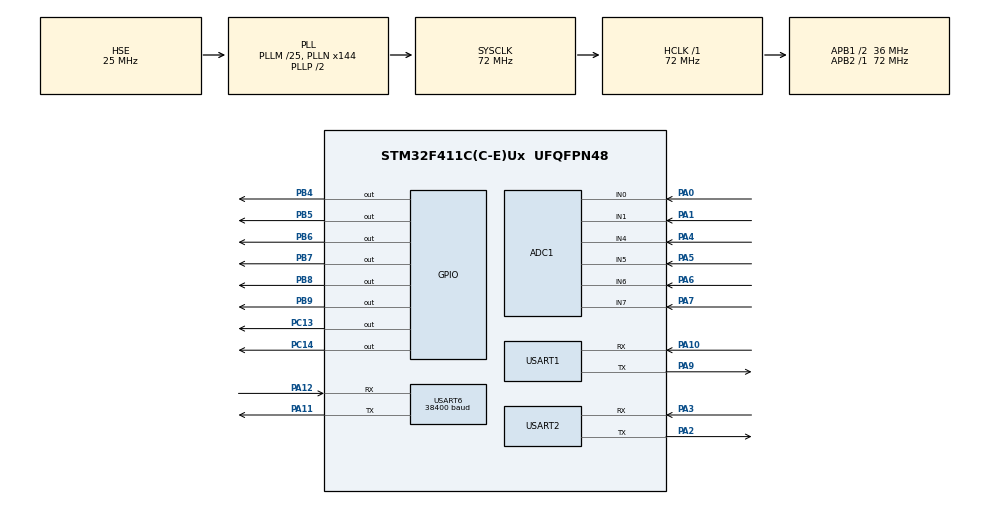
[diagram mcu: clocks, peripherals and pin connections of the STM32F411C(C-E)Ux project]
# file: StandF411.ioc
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ADC1.Channel-1\#ChannelRegularConversion=ADC_CHANNEL_0
ADC1.ClockPrescaler=ADC_CLOCK_SYNC_PCLK_DIV2
ADC1.ContinuousConvMode=ENABLE
ADC1.EOCSelection=ADC_EOC_SEQ_CONV
ADC1.InjNumberOfConversion=0
ADC1.NbrOfConversion=1
ADC1.NbrOfConversionFlag=1
ADC1.Rank-1\#ChannelRegularConversion=1
ADC1.SamplingTime-1\#ChannelRegularConversion=ADC_SAMPLETIME_3CYCLES
ADC1.ScanConvMode=DISABLE
ADC1.master=1
Mcu.Family=STM32F4
Mcu.Name=STM32F411C(C-E)Ux
Mcu.Package=UFQFPN48
NVIC.PriorityGroup=NVIC_PRIORITYGROUP_4
NVIC.USART1_IRQn=true\:0\:0\:false\:false\:true\:true\:true\:true
NVIC.USART2_IRQn=true\:0\:0\:false\:false\:true\:true\:true\:true
PA0-WKUP.Signal=ADCx_IN0
PA1.Signal=ADCx_IN1
PA10.Mode=Asynchronous
PA10.Signal=USART1_RX
PA11.Mode=Asynchronous
PA11.Signal=USART6_TX
PA12.Mode=Asynchronous
PA12.Signal=USART6_RX
PA13.Mode=Serial_Wire
PA13.Signal=SYS_JTMS-SWDIO
PA14.Mode=Serial_Wire
PA14.Signal=SYS_JTCK-SWCLK
PA2.Mode=Asynchronous
PA2.Signal=USART2_TX
PA3.Mode=Asynchronous
PA3.Signal=USART2_RX
PA4.Signal=ADCx_IN4
PA5.Signal=ADCx_IN5
PA6.Signal=ADCx_IN6
PA7.Signal=ADCx_IN7
PA9.Mode=Asynchronous
PA9.Signal=USART1_TX
PB4.Signal=GPIO_Output
PB5.Signal=GPIO_Output
PB6.Signal=GPIO_Output
PB7.Signal=GPIO_Output
PB8.Signal=GPIO_Output
PB9.Signal=GPIO_Output
PC13-ANTI_TAMP.Signal=GPIO_Output
PC14-OSC32_IN.Signal=GPIO_Output
PH0\ -\ OSC_IN.Mode=HSE-External-Oscillator
PH0\ -\ OSC_IN.Signal=RCC_OSC_IN
PH1\ -\ OSC_OUT.Mode=HSE-External-Oscillator
PH1\ -\ OSC_OUT.Signal=RCC_OSC_OUT
ProjectManager.HeapSize=0x200
ProjectManager.StackSize=0x400
ProjectManager.TargetToolchain=STM32CubeIDE
RCC.48MHZClocksFreq_Value=36000000
RCC.AHBFreq_Value=72000000
RCC.APB1CLKDivider=RCC_HCLK_DIV2
RCC.APB1Freq_Value=36000000
RCC.APB1TimFreq_Value=72000000
RCC.APB2Freq_Value=72000000
RCC.APB2TimFreq_Value=72000000
RCC.CortexFreq_Value=72000000
RCC.HCLKFreq_Value=72000000
RCC.HSE_VALUE=25000000
RCC.HSI_VALUE=16000000
RCC.LSE_VALUE=32768
RCC.PLLM=25
RCC.PLLN=144
RCC.PLLSourceVirtual=RCC_PLLSOURCE_HSE
RCC.SYSCLKFreq_VALUE=72000000
RCC.SYSCLKSource=RCC_SYSCLKSOURCE_PLLCLK
RCC.VCOOutputFreq_Value=144000000
SH.ADCx_IN0.0=ADC1_IN0,IN0
SH.ADCx_IN1.0=ADC1_IN1,IN1
SH.ADCx_IN4.0=ADC1_IN4,IN4
SH.ADCx_IN5.0=ADC1_IN5,IN5
SH.ADCx_IN6.0=ADC1_IN6,IN6
SH.ADCx_IN7.0=ADC1_IN7,IN7
USART1.VirtualMode=VM_ASYNC
USART2.VirtualMode=VM_ASYNC
USART6.BaudRate=38400
USART6.VirtualMode=VM_ASYNC
USART6.WordLength=WORDLENGTH_8B
board=custom

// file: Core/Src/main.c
/* USER CODE BEGIN Header */
/**
  ******************************************************************************
  * @file           : main.c
  * @brief          : Main program body
  ******************************************************************************
  * @attention
  *
  * Copyright (c) 2024 STMicroelectronics.
  * All rights reserved.
  *
  * This software is licensed under terms that can be found in the LICENSE file
  * in the root directory of this software component.
  * If no LICENSE file comes with this software, it is provided AS-IS.
  *
  ******************************************************************************
  */
/* USER CODE END Header */
#include "main.h"

/* USER CODE BEGIN Includes */
#include <stdio.h>
#include <stdlib.h>
#include <stdint.h>
#include <string.h>
#include "parser.h"
#include "hardware.h"
/* USER CODE END Includes */

/* USER CODE BEGIN PTD */

uint8_t rx_byte, status;

/* USER CODE END PTD */

ADC_HandleTypeDef hadc1;

UART_HandleTypeDef huart1;
UART_HandleTypeDef huart2;
UART_HandleTypeDef huart6;

void SystemClock_Config(void);
static void MX_GPIO_Init(void);
static void MX_USART1_UART_Init(void);
static void MX_USART2_UART_Init(void);
static void MX_USART6_UART_Init(void);
static void MX_ADC1_Init(void);

int main(void)
{

  /* MCU Configuration--------------------------------------------------------*/

  /* Reset of all peripherals, Initializes the Flash interface and the Systick. */
  HAL_Init();

  /* Configure the system clock */
  SystemClock_Config();

  /* Initialize all configured peripherals */
  MX_GPIO_Init();
  MX_USART1_UART_Init();
  MX_USART2_UART_Init();
  MX_USART6_UART_Init();
  MX_ADC1_Init();

  /* Infinite loop */
  /* USER CODE BEGIN WHILE */
  while (1)
  {
	  HAL_UART_Receive_IT(&UART_USB, &rx_byte, 1);
	  if (status == STATUS_OK){
		  enum parser_result result;
		  	          result = process_rx_byte(&parser, rx_byte);
		  	          if (result == PARSER_DONE) {
		                  choose_command(parser.buffer, &parser.buffer_length);
		                  transmission(&data, &parser);
		                  serialize_reply(&data);
		                  HAL_UART_Transmit_IT(&UART_USB, data.buf, data.buf_size);
		  	          }
		  	        else if (result == PARSER_ERROR) {
		  	        	        	   parser.state = STATE_SYNC;
		  	        	          }
		  status = STATUS_EXEC_ERROR;
	  }

    /* USER CODE END WHILE */

  }
}

void SystemClock_Config(void)
{
  RCC_OscInitTypeDef RCC_OscInitStruct = {0};
  RCC_ClkInitTypeDef RCC_ClkInitStruct = {0};

  /** Configure the main internal regulator output voltage
  */
  __HAL_RCC_PWR_CLK_ENABLE();
  __HAL_PWR_VOLTAGESCALING_CONFIG(PWR_REGULATOR_VOLTAGE_SCALE1);

  /** Initializes the RCC Oscillators according to the specified parameters
  * in the RCC_OscInitTypeDef structure.
  */
  RCC_OscInitStruct.OscillatorType = RCC_OSCILLATORTYPE_HSE;
  RCC_OscInitStruct.HSEState = RCC_HSE_ON;
  RCC_OscInitStruct.PLL.PLLState = RCC_PLL_ON;
  RCC_OscInitStruct.PLL.PLLSource = RCC_PLLSOURCE_HSE;
  RCC_OscInitStruct.PLL.PLLM = 25;
  RCC_OscInitStruct.PLL.PLLN = 144;
  RCC_OscInitStruct.PLL.PLLP = RCC_PLLP_DIV2;
  RCC_OscInitStruct.PLL.PLLQ = 4;
  if (HAL_RCC_OscConfig(&RCC_OscInitStruct) != HAL_OK)
  {
    Error_Handler();
  }

  /** Initializes the CPU, AHB and APB buses clocks
  */
  RCC_ClkInitStruct.ClockType = RCC_CLOCKTYPE_HCLK|RCC_CLOCKTYPE_SYSCLK
                              |RCC_CLOCKTYPE_PCLK1|RCC_CLOCKTYPE_PCLK2;
  RCC_ClkInitStruct.SYSCLKSource = RCC_SYSCLKSOURCE_PLLCLK;
  RCC_ClkInitStruct.AHBCLKDivider = RCC_SYSCLK_DIV1;
  RCC_ClkInitStruct.APB1CLKDivider = RCC_HCLK_DIV2;
  RCC_ClkInitStruct.APB2CLKDivider = RCC_HCLK_DIV1;

  if (HAL_RCC_ClockConfig(&RCC_ClkInitStruct, FLASH_LATENCY_2) != HAL_OK)
  {
    Error_Handler();
  }
}

static void MX_ADC1_Init(void)
{

  ADC_ChannelConfTypeDef sConfig = {0};

  /** Configure the global features of the ADC (Clock, Resolution, Data Alignment and number of conversion)
  */
  hadc1.Instance = ADC1;
  hadc1.Init.ClockPrescaler = ADC_CLOCK_SYNC_PCLK_DIV2;
  hadc1.Init.Resolution = ADC_RESOLUTION_12B;
  hadc1.Init.ScanConvMode = DISABLE;
  hadc1.Init.ContinuousConvMode = ENABLE;
  hadc1.Init.DiscontinuousConvMode = DISABLE;
  hadc1.Init.ExternalTrigConvEdge = ADC_EXTERNALTRIGCONVEDGE_NONE;
  hadc1.Init.ExternalTrigConv = ADC_SOFTWARE_START;
  hadc1.Init.DataAlign = ADC_DATAALIGN_RIGHT;
  hadc1.Init.NbrOfConversion = 1;
  hadc1.Init.DMAContinuousRequests = DISABLE;
  hadc1.Init.EOCSelection = ADC_EOC_SEQ_CONV;
  if (HAL_ADC_Init(&hadc1) != HAL_OK)
  {
    Error_Handler();
  }

  /** Configure for the selected ADC regular channel its corresponding rank in the sequencer and its sample time.
  */
  sConfig.Channel = ADC_CHANNEL_0;
  sConfig.Rank = 1;
  sConfig.SamplingTime = ADC_SAMPLETIME_3CYCLES;
  if (HAL_ADC_ConfigChannel(&hadc1, &sConfig) != HAL_OK)
  {
    Error_Handler();
  }

}

static void MX_USART1_UART_Init(void)
{

  huart1.Instance = USART1;
  huart1.Init.BaudRate = 115200;
  huart1.Init.WordLength = UART_WORDLENGTH_8B;
  huart1.Init.StopBits = UART_STOPBITS_1;
  huart1.Init.Parity = UART_PARITY_NONE;
  huart1.Init.Mode = UART_MODE_TX_RX;
  huart1.Init.HwFlowCtl = UART_HWCONTROL_NONE;
  huart1.Init.OverSampling = UART_OVERSAMPLING_16;
  if (HAL_UART_Init(&huart1) != HAL_OK)
  {
    Error_Handler();
  }

}

static void MX_USART2_UART_Init(void)
{

  huart2.Instance = USART2;
  huart2.Init.BaudRate = 115200;
  huart2.Init.WordLength = UART_WORDLENGTH_8B;
  huart2.Init.StopBits = UART_STOPBITS_1;
  huart2.Init.Parity = UART_PARITY_NONE;
  huart2.Init.Mode = UART_MODE_TX_RX;
  huart2.Init.HwFlowCtl = UART_HWCONTROL_NONE;
  huart2.Init.OverSampling = UART_OVERSAMPLING_16;
  if (HAL_UART_Init(&huart2) != HAL_OK)
  {
    Error_Handler();
  }

}

static void MX_USART6_UART_Init(void)
{

  huart6.Instance = USART6;
  huart6.Init.BaudRate = 38400;
  huart6.Init.WordLength = UART_WORDLENGTH_8B;
  huart6.Init.StopBits = UART_STOPBITS_1;
  huart6.Init.Parity = UART_PARITY_NONE;
  huart6.Init.Mode = UART_MODE_TX_RX;
  huart6.Init.HwFlowCtl = UART_HWCONTROL_NONE;
  huart6.Init.OverSampling = UART_OVERSAMPLING_16;
  if (HAL_UART_Init(&huart6) != HAL_OK)
  {
    Error_Handler();
  }

}

static void MX_GPIO_Init(void)
{
  GPIO_InitTypeDef GPIO_InitStruct = {0};

  /* GPIO Ports Clock Enable */
  __HAL_RCC_GPIOC_CLK_ENABLE();
  __HAL_RCC_GPIOH_CLK_ENABLE();
  __HAL_RCC_GPIOA_CLK_ENABLE();
  __HAL_RCC_GPIOB_CLK_ENABLE();

  /*Configure GPIO pin Output Level */
  HAL_GPIO_WritePin(GPIOC, GPIO_PIN_13|GPIO_PIN_14, GPIO_PIN_RESET);

  /*Configure GPIO pin Output Level */
  HAL_GPIO_WritePin(GPIOB, GPIO_PIN_4|GPIO_PIN_5|GPIO_PIN_6|GPIO_PIN_7
                          |GPIO_PIN_8|GPIO_PIN_9, GPIO_PIN_RESET);

  /*Configure GPIO pins : PC13 PC14 */
  GPIO_InitStruct.Pin = GPIO_PIN_13|GPIO_PIN_14;
  GPIO_InitStruct.Mode = GPIO_MODE_OUTPUT_PP;
  GPIO_InitStruct.Pull = GPIO_NOPULL;
  GPIO_InitStruct.Speed = GPIO_SPEED_FREQ_LOW;
  HAL_GPIO_Init(GPIOC, &GPIO_InitStruct);

  /*Configure GPIO pins : PB4 PB5 PB6 PB7
                           PB8 PB9 */
  GPIO_InitStruct.Pin = GPIO_PIN_4|GPIO_PIN_5|GPIO_PIN_6|GPIO_PIN_7
                          |GPIO_PIN_8|GPIO_PIN_9;
  GPIO_InitStruct.Mode = GPIO_MODE_OUTPUT_PP;
  GPIO_InitStruct.Pull = GPIO_NOPULL;
  GPIO_InitStruct.Speed = GPIO_SPEED_FREQ_LOW;
  HAL_GPIO_Init(GPIOB, &GPIO_InitStruct);

}

/* USER CODE BEGIN 4 */

void HAL_UART_RxCpltCallback(UART_HandleTypeDef *huart)
{
 if (huart->Instance == USART2)
     { status = STATUS_OK; }
}

/* USER CODE END 4 */

void Error_Handler(void)
{
  __disable_irq();
  while (1)
  {
  }
}
